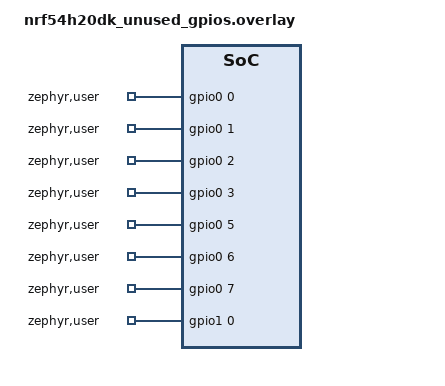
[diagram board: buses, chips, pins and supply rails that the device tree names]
/*
 * Copyright (c) 2026 Nordic Semiconductor ASA
 *
 * SPDX-License-Identifier: LicenseRef-Nordic-5-Clause
 */

/ {
	zephyr,user {
		gpios = <&gpio0 0 GPIO_ACTIVE_HIGH>, <&gpio0 1 GPIO_ACTIVE_HIGH>,
			<&gpio0 2 GPIO_ACTIVE_HIGH>, <&gpio0 3 GPIO_ACTIVE_HIGH>,
			<&gpio0 5 GPIO_ACTIVE_HIGH>, <&gpio0 6 GPIO_ACTIVE_HIGH>,
			<&gpio0 7 GPIO_ACTIVE_HIGH>,
			<&gpio1 0 GPIO_ACTIVE_HIGH>, <&gpio1 3 GPIO_ACTIVE_HIGH>,
			<&gpio1 7 GPIO_ACTIVE_HIGH>, <&gpio1 9 GPIO_ACTIVE_HIGH>,
			<&gpio1 10 GPIO_ACTIVE_HIGH>, <&gpio1 11 GPIO_ACTIVE_HIGH>,
			<&gpio2 0 GPIO_ACTIVE_HIGH>, <&gpio2 2 GPIO_ACTIVE_HIGH>,
			<&gpio6 1 GPIO_ACTIVE_HIGH>,
			<&gpio7 0 GPIO_ACTIVE_HIGH>, <&gpio7 1 GPIO_ACTIVE_HIGH>,
			<&gpio7 2 GPIO_ACTIVE_HIGH>, <&gpio7 3 GPIO_ACTIVE_HIGH>,
			<&gpio7 4 GPIO_ACTIVE_HIGH>, <&gpio7 5 GPIO_ACTIVE_HIGH>,
			<&gpio7 6 GPIO_ACTIVE_HIGH>, <&gpio7 7 GPIO_ACTIVE_HIGH>;
	};
};

&gpio0 {
	status = "okay";
};

&gpio1 {
	status = "okay";
};

&gpio2 {
	status = "okay";
};

&gpio6 {
	status = "okay";
};

&gpio7 {
	status = "okay";
};

&gpio9 {
	status = "okay";
};

&gpiote130 {
	status = "okay";
};
